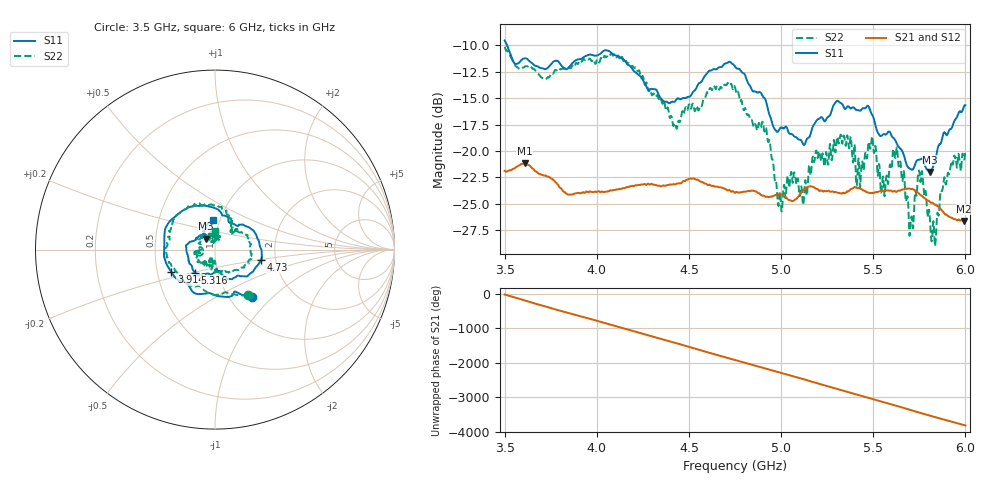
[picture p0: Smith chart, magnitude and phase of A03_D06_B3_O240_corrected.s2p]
! Created with skrf 1.9.0 (http://scikit-rf.org).
# Hz S RI R 50.0
!freq ReS11 ImS11 ReS21 ImS21 ReS12 ImS12 ReS22 ImS22
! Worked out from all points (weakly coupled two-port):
!   1601 points, 3.5 GHz to 6 GHz, reference 50 ohm
!   highest |S21| = -21.18 dB at 3.609 GHz (marker M1); lowest = -26.7 dB at 5.994 GHz (marker M2)
!   lowest |S11| = -22.0 dB at 5.809 GHz (marker M3), VSWR 1.17, Z = 44.9 + j5.57 ohm
!   |S11| at or under -10 dB: 3.514 GHz to end of sweep
!   |S22| runs from -29.0 to -10.1 dB; largest |S21 - S12| = 0.00093
!   S11 on the Smith chart (normalised r, x): 3.5 GHz: 1.27, -0.75; 3.914 GHz: 0.59, -0.16; 4.73 GHz: 1.67, -0.21; 5.316 GHz: 0.78, -0.21; 6 GHz: 0.92, +0.31
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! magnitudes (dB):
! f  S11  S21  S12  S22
! 3.5 GHz  -9.5  -21.9  -21.9  -10.1
! 3.609 GHz  -11.2  -21.2  -21.2  -12.0
! 3.914 GHz  -11.3  -24.0  -24.0  -11.5
! 3.917 GHz  -11.3  -24.0  -24.0  -11.5
! 4.334 GHz  -14.6  -23.3  -23.2  -15.0
! 4.427 GHz  -15.3  -23.2  -23.1  -17.5
! 4.73 GHz  -11.6  -23.9  -23.8  -13.6
! 4.75 GHz  -12.0  -24.0  -23.9  -14.0
! 4.911 GHz  -15.0  -24.3  -24.2  -18.2
! 4.994 GHz  -17.9  -24.2  -24.1  -23.9
! 5.167 GHz  -17.9  -23.4  -23.3  -21.1
! 5.316 GHz  -15.4  -24.0  -23.9  -19.1
! 5.419 GHz  -16.1  -23.5  -23.6  -20.9
! 5.486 GHz  -16.3  -24.0  -23.9  -19.7
! 5.552 GHz  -18.5  -23.8  -23.7  -22.5
! 5.584 GHz  -18.2  -23.8  -23.7  -22.4
! 5.636 GHz  -19.6  -23.8  -23.7  -21.2
! 5.706 GHz  -21.8  -23.6  -23.6  -26.3
! 5.756 GHz  -20.8  -24.2  -24.1  -23.0
! 5.809 GHz  -22.0  -24.9  -24.8  -27.1
! 5.994 GHz  -15.7  -26.7  -26.5  -20.8
! 6 GHz  -15.7  -26.6  -26.6  -19.9
